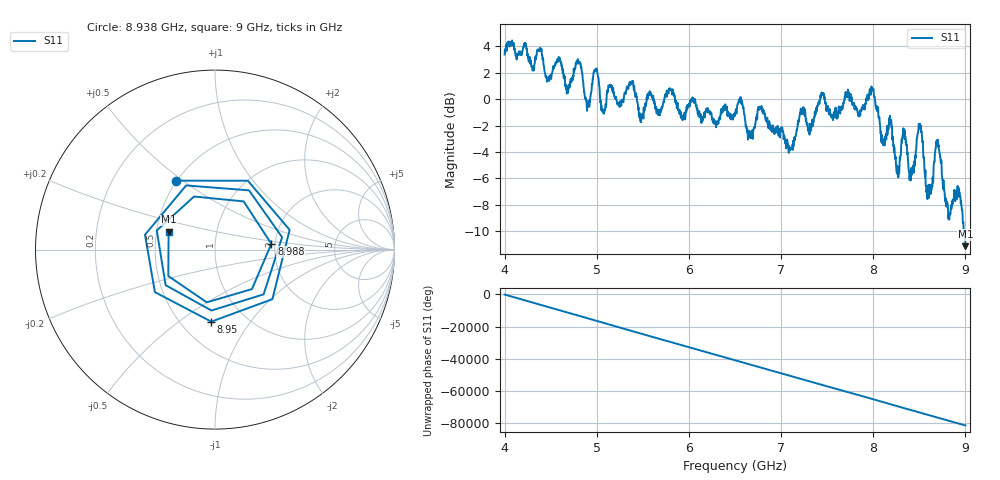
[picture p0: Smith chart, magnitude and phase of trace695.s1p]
! Created with skrf 1.8.0 (http://scikit-rf.org).
# Hz S RI R 50.0
!freq ReS11 ImS11
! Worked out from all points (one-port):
!   1601 points, 4 GHz to 9 GHz, reference 50 ohm
!   lowest |S11| = -11.1 dB at 9 GHz (marker M1), VSWR 1.77, Z = 29 + j6.28 ohm
!   |S11| at or under -10 dB: 8.981927 GHz to end of sweep
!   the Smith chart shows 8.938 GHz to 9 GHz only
!   S11 on the Smith chart (normalised r, x): 8.938 GHz: 0.50, +0.47; 8.95 GHz: 0.70, -0.67; 8.988 GHz: 1.91, +0.14; 9 GHz: 0.58, +0.13
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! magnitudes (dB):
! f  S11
! 4 GHz  3.4
! 4.625 GHz  2.3
! 5.25 GHz  -0.6
! 5.372 GHz  1.2
! 5.481 GHz  -1.7
! 5.569 GHz  0.3
! 5.875 GHz  -0.5
! 6.5 GHz  -1.0
! 7.125 GHz  -3.4
! 7.222 GHz  -1.0
! 7.316 GHz  -2.1
! 7.447 GHz  0.3
! 7.75 GHz  -0.1
! 7.988 GHz  0.8
! 8.103 GHz  -3.3
! 8.191 GHz  -1.9
! 8.259 GHz  -5.0
! 8.331 GHz  -2.6
! 8.375 GHz  -4.4
! 8.419 GHz  -5.6
! 8.503 GHz  -2.0
! 8.597 GHz  -7.5
! 8.697 GHz  -3.2
! 8.812 GHz  -8.5
! 8.938 GHz  -7.1
! 8.95 GHz  -7.9
! 8.988 GHz  -10.0
! 9 GHz  -11.1
